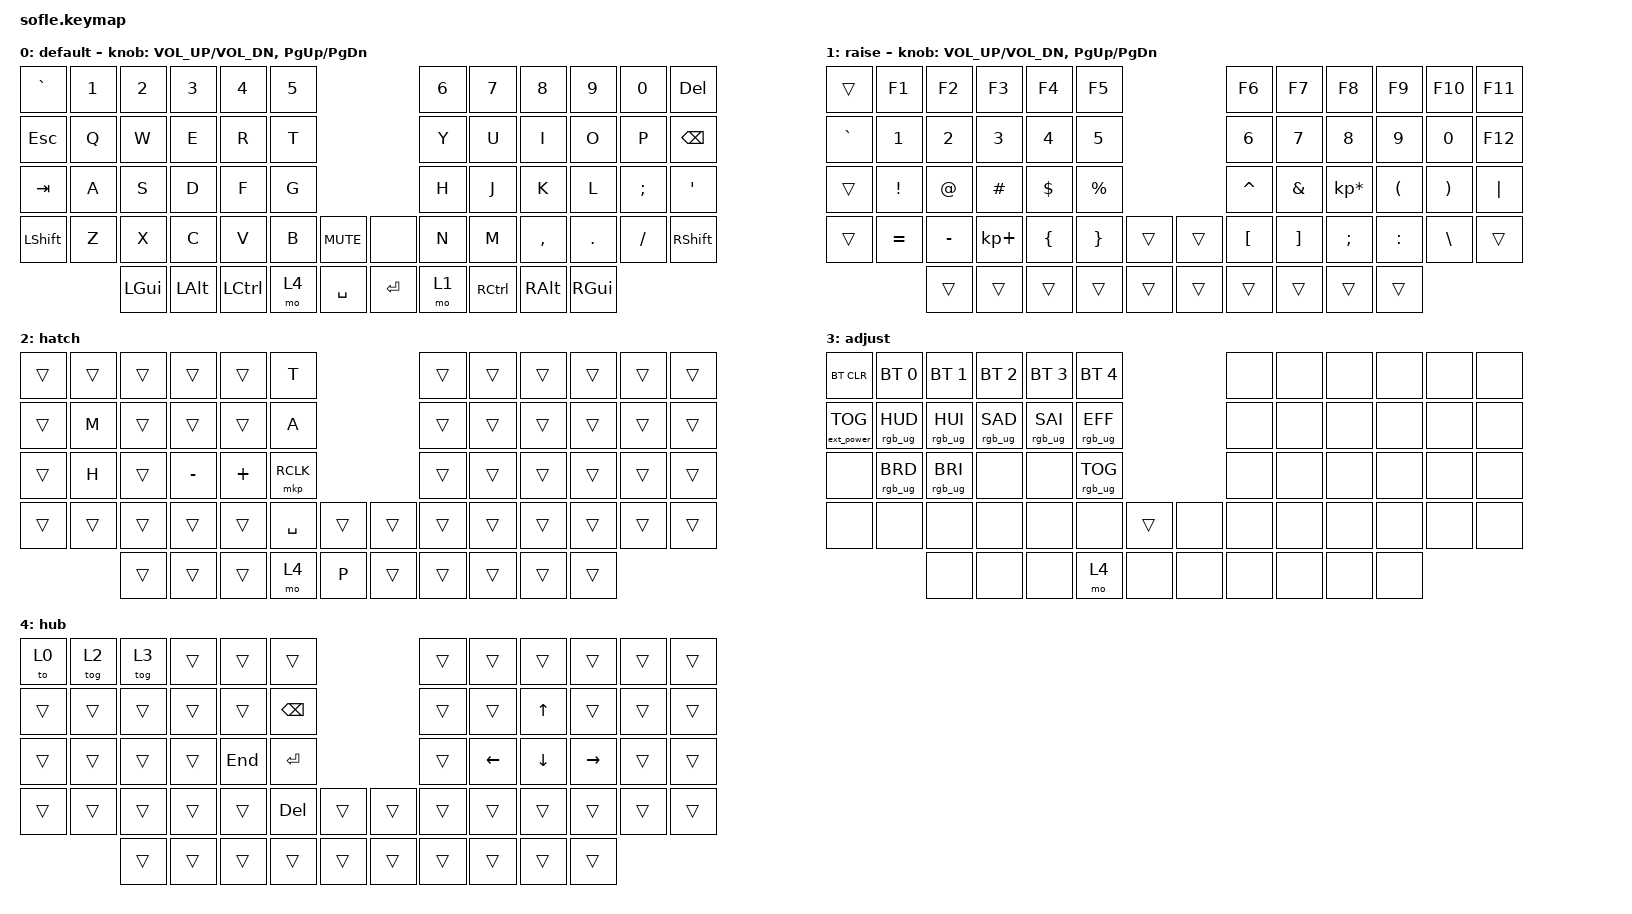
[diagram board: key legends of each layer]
/*
 * Copyright (c) 2020 The ZMK Contributors
 *
 * SPDX-License-Identifier: MIT
 */

#include <behaviors.dtsi>
#include <dt-bindings/zmk/bt.h>
#include <dt-bindings/zmk/ext_power.h>
#include <dt-bindings/zmk/keys.h>
#include <dt-bindings/zmk/pointing.h>
#include <dt-bindings/zmk/rgb.h>

#define BASE 0
#define LOWER 1
#define RAISE 2
#define ADJUST 3

/ {
    // Activate ADJUST layer by pressing raise and lower

    conditional_layers {
        compatible = "zmk,conditional-layers";

        adjust_layer {
            if-layers = <3 1>;
            then-layer = <7>;
        };
    };

    combos {
        compatible = "zmk,combos";
        timeout-ms = <300>; // Global timeout for all combos
        hatch_redo {
            bindings = <&kp LC(Y)>;
            key-positions = <52 36 37>;
            layers = <2>;
        };
    };

    keymap {
        compatible = "zmk,keymap";

        default_layer {
            label = "default";

            // ------------------------------------------------------------------------------------------------------------
            // |   `   |  1  |  2  |  3   |  4   |  5   |                   |  6   |  7    |  8    |  9   |   0   |       |
            // |  ESC  |  Q  |  W  |  E   |  R   |  T   |                   |  Y   |  U    |  I    |  O   |   P   | BKSPC |
            // |  TAB  |  A  |  S  |  D   |  F   |  G   |                   |  H   |  J    |  K    |  L   |   ;   |   '   |
            // | SHIFT |  Z  |  X  |  C   |  V   |  B   |  MUTE  |  |       |  N   |  M    |  ,    |  .   |   /   | SHIFT |
            //               | GUI | ALT  | CTRL | LOWER|  ENTER |  | SPACE | RAISE| CTRL  | ALT   | GUI  |

            bindings = <
&kp GRAVE  &kp N1  &kp N2    &kp N3    &kp N4     &kp N5                           &kp N6  &kp N7     &kp N8     &kp N9    &kp N0    &kp DELETE
&kp ESC    &kp Q   &kp W     &kp E     &kp R      &kp T                            &kp Y   &kp U      &kp I      &kp O     &kp P     &kp BSPC
&kp TAB    &kp A   &kp S     &kp D     &kp F      &kp G                            &kp H   &kp J      &kp K      &kp L     &kp SEMI  &kp SQT
&kp LSHFT  &kp Z   &kp X     &kp C     &kp V      &kp B   &kp C_MUTE    &none      &kp N   &kp M      &kp COMMA  &kp DOT   &kp FSLH  &kp RSHFT
                   &kp LGUI  &kp LALT  &kp LCTRL  &mo 4   &kp SPACE     &kp ENTER  &mo 1   &kp RCTRL  &kp RALT   &kp RGUI
            >;

            sensor-bindings = <&inc_dec_kp C_VOL_UP C_VOL_DN &inc_dec_kp PG_UP PG_DN>;
        };

        symbols_layer {
            label = "raise";

            // TODO: Some binds are waiting for shifted keycode support.
            // ------------------------------------------------------------------------------------------------------------
            // |       |  F1 |  F2 |  F3  |  F4  |  F5  |                   |  F6  |  F7   |  F8   |  F9  |  F10  |  F11  |
            // |   `   |  1  |  2  |  3   |  4   |  5   |                   |  6   |  7    |  8    |  9   |   0   |  F12  |
            // |       |  !  |  @  |  #   |  $   |  %   |                   |  ^   |  &    |  *    |  (   |   )   |   |   |
            // |       |  =  |  -  |  +   |  {   |  }   |        |  |       |  [   |  ]    |  ;    |  :   |   \   |       |
            //               |     |      |      |      |        |  |       |      |       |       |      |

            bindings = <
&trans     &kp F1     &kp F2     &kp F3       &kp F4    &kp F5                       &kp F6     &kp F7    &kp F8           &kp F9     &kp F10   &kp F11
&kp GRAVE  &kp N1     &kp N2     &kp N3       &kp N4    &kp N5                       &kp N6     &kp N7    &kp N8           &kp N9     &kp N0    &kp F12
&trans     &kp EXCL   &kp AT     &kp HASH     &kp DLLR  &kp PRCNT                    &kp CARET  &kp AMPS  &kp KP_MULTIPLY  &kp LPAR   &kp RPAR  &kp PIPE
&trans     &kp EQUAL  &kp MINUS  &kp KP_PLUS  &kp LBRC  &kp RBRC   &trans    &trans  &kp LBKT   &kp RBKT  &kp SEMI         &kp COLON  &kp BSLH  &trans
                      &trans     &trans       &trans    &trans     &trans    &trans  &trans     &trans    &trans           &trans
            >;

            sensor-bindings = <&inc_dec_kp C_VOL_UP C_VOL_DN &inc_dec_kp PG_UP PG_DN>;
        };

        hatch_layer {
            bindings = <
&trans  &trans  &trans  &trans     &trans    &kp T                        &trans  &trans  &trans  &trans  &trans  &trans
&trans  &kp M   &trans  &trans     &trans    &kp A                        &trans  &trans  &trans  &trans  &trans  &trans
&trans  &kp H   &trans  &kp MINUS  &kp PLUS  &mkp RCLK                    &trans  &trans  &trans  &trans  &trans  &trans
&trans  &trans  &trans  &trans     &trans    &kp SPACE  &trans    &trans  &trans  &trans  &trans  &trans  &trans  &trans
                &trans  &trans     &trans    &mo 4      &kp P     &trans  &trans  &trans  &trans  &trans
            >;

            label = "hatch";
        };

        adjust_layer {
            // ----------------------------------------------------------------------------------------------------------------------------
            // | BTCLR  |  BT1    |  BT2    |   BT3   |   BT4   |   BT5   |                  |      |      |       |      |       |       |
            // | EXTPWR | RGB_HUD | RGB_HUI | RGB_SAD | RGB_SAI | RGB_EFF |                  |      |      |       |      |       |       |
            // |        | RGB_BRD | RGB_BRI |         |         |         |                  |      |      |       |      |       |       |
            // |        |         |         |         |         |         | RGB_TOG | |      |      |      |       |      |       |       |
            //                    |         |         |         |         |         | |      |      |      |       |      |

            label = "adjust";
            bindings = <
&bt BT_CLR         &bt BT_SEL 0     &bt BT_SEL 1     &bt BT_SEL 2     &bt BT_SEL 3     &bt BT_SEL 4                      &none  &none  &none  &none  &none  &none
&ext_power EP_TOG  &rgb_ug RGB_HUD  &rgb_ug RGB_HUI  &rgb_ug RGB_SAD  &rgb_ug RGB_SAI  &rgb_ug RGB_EFF                   &none  &none  &none  &none  &none  &none
&none              &rgb_ug RGB_BRD  &rgb_ug RGB_BRI  &none            &none            &rgb_ug RGB_TOG                   &none  &none  &none  &none  &none  &none
&none              &none            &none            &none            &none            &none            &trans    &none  &none  &none  &none  &none  &none  &none
                                    &none            &none            &none            &mo 4            &none     &none  &none  &none  &none  &none
            >;
        };

        hub_layer {
            bindings = <
&to 0   &tog 2  &tog 3  &trans  &trans   &trans                           &trans  &trans          &trans          &trans           &trans  &trans
&trans  &trans  &trans  &trans  &trans   &kp BACKSPACE                    &trans  &trans          &kp UP_ARROW    &trans           &trans  &trans
&trans  &trans  &trans  &trans  &kp END  &kp ENTER                        &trans  &kp LEFT_ARROW  &kp DOWN_ARROW  &kp RIGHT_ARROW  &trans  &trans
&trans  &trans  &trans  &trans  &trans   &kp DEL        &trans    &trans  &trans  &trans          &trans          &trans           &trans  &trans
                &trans  &trans  &trans   &trans         &trans    &trans  &trans  &trans          &trans          &trans
            >;

            label = "hub";
        };
    };
};
